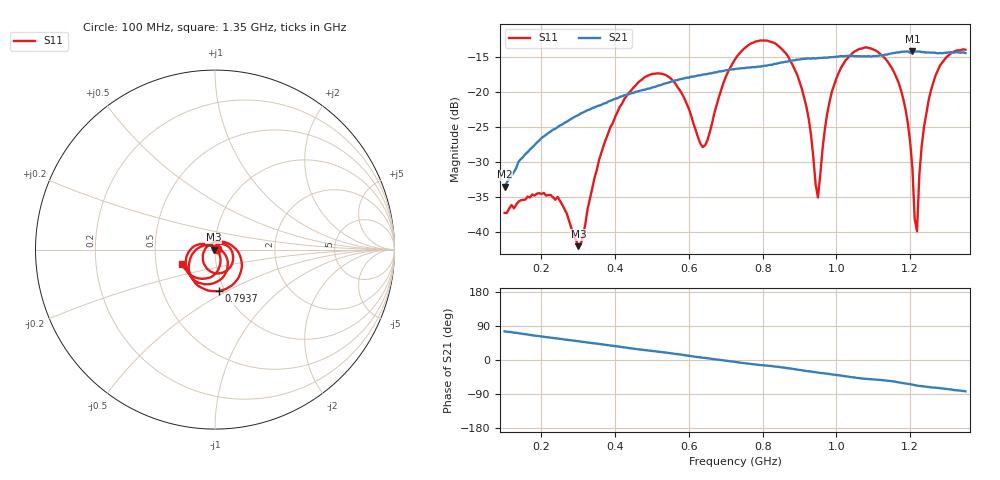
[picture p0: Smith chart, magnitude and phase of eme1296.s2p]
!File created by NanoVNA-F V2
# Hz S RI R 50
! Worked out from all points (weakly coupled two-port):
!   201 points, 100 MHz to 1.35 GHz, reference 50 ohm
!   highest |S21| = -14.24 dB at 1.206 GHz (marker M1); lowest = -33.5 dB at 100 MHz (marker M2)
!   lowest |S11| = -42.0 dB at 300 MHz (marker M3), VSWR 1.02, Z = 49.2 - j0.122 ohm
!   |S11| at or under -10 dB: start of sweep to end of sweep
!   S12 and S22 are empty: the file has one direction only
!   S11 on the Smith chart (normalised r, x): 100 MHz: 1.02, +0.01; 793.8 MHz: 0.94, -0.46; 1.35 GHz: 0.68, -0.12
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1e8  0.0123 0.00608  0.0052 0.0205  0 0  0 0
2.4375e8  0.00502 -0.0171  0.0308 0.0467  0 0  0 0
3e8  -0.00785 -0.00124  0.0442 0.0518  0 0  0 0
3.125e8  -0.00698 0.00618  0.0478 0.0527  0 0  0 0
3.5625e8  0.0148 0.0292  0.059 0.0537  0 0  0 0
4.125e8  0.0768 0.0153  0.0753 0.0527  0 0  0 0
5.1875e8  0.0343 -0.1306  0.1031 0.0412  0 0  0 0
6.375e8  -0.0206 0.0347  0.1319 0.0139  0 0  0 0
7.25e8  0.1495 -0.0811  0.1447 -0.0132  0 0  0 0
7.9375e8  0.0211 -0.2309  0.1469 -0.0346  0 0  0 0
8.9375e8  -0.1288 -0.029  0.1532 -0.0721  0 0  0 0
9.375e8  -0.0241 0.0239  0.1479 -0.0904  0 0  0 0
9.5e8  0.00934 0.015  0.1454 -0.0951  0 0  0 0
9.8125e8  0.0669 -0.0511  0.1403 -0.1063  0 0  0 0
1.025e9  0.0355 -0.1636  0.1314 -0.1226  0 0  0 0
1.14375e9  -0.1544 -0.0277  0.1058 -0.153  0 0  0 0
1.18125e9  -0.0841 0.0306  0.093 -0.1692  0 0  0 0
1.20625e9  -0.0193 0.0211  0.082 -0.176  0 0  0 0
1.21875e9  0.00985 -0.00242  0.0736 -0.1789  0 0  0 0
1.23125e9  0.0261 -0.031  0.0685 -0.1792  0 0  0 0
1.25625e9  0.0231 -0.099  0.0586 -0.1808  0 0  0 0
1.35e9  -0.1813 -0.0828  0.0239 -0.187  0 0  0 0
